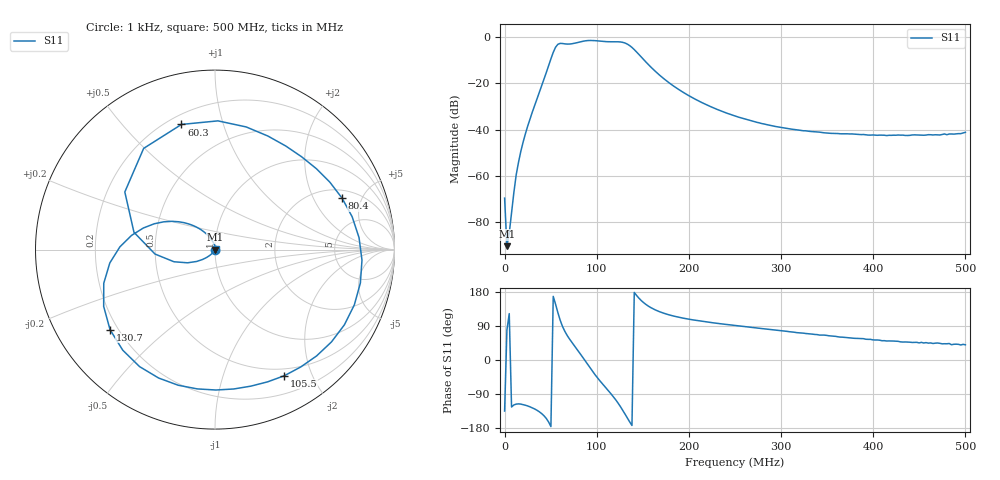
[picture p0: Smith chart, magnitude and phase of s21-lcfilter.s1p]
! ListType=Lin
! Comment=55-131MHz Chebychev LC Filter
# Hz S RI R 50
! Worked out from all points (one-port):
!   200 points, 1 kHz to 500 MHz, reference 50 ohm
!   lowest |S11| = -90.3 dB at 2.514 MHz (marker M1), VSWR 1.00, Z = 50 + j0.003 ohm
!   |S11| at or under -10 dB: start of sweep to 49.83 MHz; 151.3 MHz to end of sweep
!   S11 on the Smith chart (normalised r, x): 1 kHz: 1.00, -0.00; 60.3 MHz: 0.25, +0.74; 80.4 MHz: 2.49, +3.43; 105.5 MHz: 0.41, -1.62; 130.7 MHz: 0.17, -0.33; 500 MHz: 1.01, +0.01
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1000  -0.000233 -0.000236
2513558  5.7e-06 3e-05
5026116  -3.12e-05 4.92e-05
7538673  -8.83e-05 -0.000131
1.256379e7  -0.000468 -0.000943
2.010146e7  -0.00251 -0.00476
3.768937e7  -0.0463 -0.0437
4.77396e7  -0.2284 -0.0678
5.276471e7  -0.4515 0.0965
5.527727e7  -0.5024 0.3211
6.030239e7  -0.1868 0.6973
6.281494e7  0.0163 0.7172
7.035262e7  0.3945 0.5771
8.040285e7  0.7082 0.2865
9.045308e7  0.8101 -0.1859
1.055284e8  0.387 -0.7024
1.180912e8  -0.0981 -0.7762
1.256289e8  -0.4203 -0.6519
1.30654e8  -0.5848 -0.4459
1.407042e8  -0.5299 0.0153
1.482419e8  -0.3388 0.1438
1.633173e8  -0.1227 0.1344
1.884428e8  -0.0292 0.0683
2.512568e8  -0.000226 0.0193
3.140707e8  0.00287 0.00963
3.768847e8  0.00428 0.00681
4.396986e8  0.00511 0.00548
5e8  0.00665 0.00561
